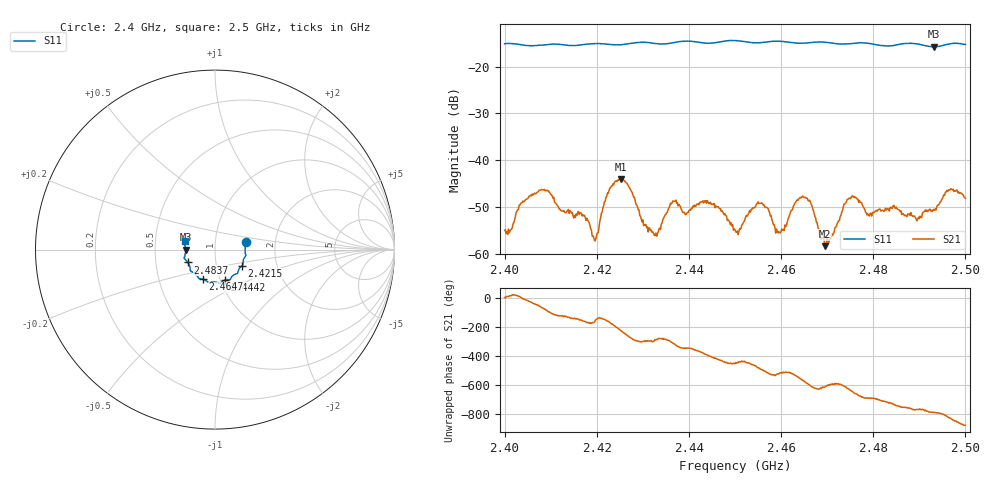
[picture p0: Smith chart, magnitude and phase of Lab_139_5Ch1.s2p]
# Hz S RI R 50
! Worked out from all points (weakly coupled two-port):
!   601 points, 2.4 GHz to 2.5 GHz, reference 50 ohm
!   highest |S21| = -44.08 dB at 2.4252 GHz (marker M1); lowest = -58.4 dB at 2.4695 GHz (marker M2)
!   lowest |S11| = -15.7 dB at 2.4932 GHz (marker M3), VSWR 1.39, Z = 35.9 - j0.0596 ohm
!   |S11| at or under -10 dB: start of sweep to end of sweep
!   S12 and S22 are empty: the file has one direction only
!   S11 on the Smith chart (normalised r, x): 2.4 GHz: 1.41, +0.12; 2.4215 GHz: 1.33, -0.25; 2.4442 GHz: 1.05, -0.37; 2.4647 GHz: 0.83, -0.28; 2.4837 GHz: 0.73, -0.11; 2.5 GHz: 0.71, +0.07
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2.4e9  0.1713 0.0403  0.00176 0.000181  0 0  0 0
2.408e9  0.1685 -0.0203  0.00222 -0.00432  0 0  0 0
2.416667e9  0.1567 -0.0697  -0.00238 -0.0013  0 0  0 0
2.4195e9  0.1549 -0.0852  -0.00132 -0.000413  0 0  0 0
2.4215e9  0.1511 -0.0897  -0.00262 -0.00193  0 0  0 0
2.425167e9  0.1333 -0.1084  -0.0047 0.00412  0 0  0 0
2.430667e9  0.1243 -0.1334  0.000943 0.00182  0 0  0 0
2.433333e9  0.1084 -0.1384  0.000216 0.00169  0 0  0 0
2.4365e9  0.09 -0.1564  0.00236 0.0028  0 0  0 0
2.444167e9  0.0565 -0.1693  0.0029 -0.00202  0 0  0 0
2.45e9  0.0251 -0.1891  -2.42e-05 -0.0018  0 0  0 0
2.455333e9  -0.0111 -0.1803  -0.00199 -0.00281  0 0  0 0
2.460167e9  -0.0365 -0.1831  -0.00161 -0.000886  0 0  0 0
2.464667e9  -0.0674 -0.1653  -0.00374 0.00175  0 0  0 0
2.466667e9  -0.0827 -0.162  -0.00107 0.0031  0 0  0 0
2.4695e9  -0.0926 -0.1578  -0.000344 0.00115  0 0  0 0
2.475e9  -0.123 -0.1265  0.000284 0.00386  0 0  0 0
2.483333e9  -0.1491 -0.075  0.00299 -0.000181  0 0  0 0
2.483667e9  -0.151 -0.0715  0.0031 -0.000158  0 0  0 0
2.493167e9  -0.1635 -0.000807  0.00122 -0.00272  0 0  0 0
2.4965e9  -0.1723 0.0327  -0.00124 -0.00466  0 0  0 0
2.5e9  -0.1649 0.0507  -0.00363 -0.00144  0 0  0 0
